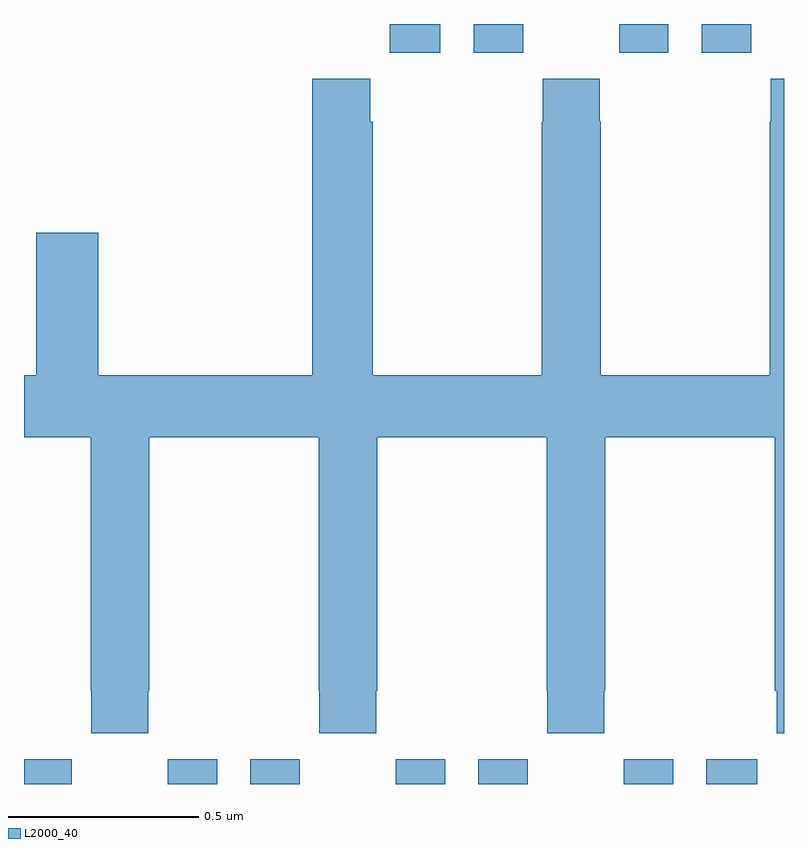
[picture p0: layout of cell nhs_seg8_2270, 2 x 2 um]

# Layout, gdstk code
import gdstk
lib = gdstk.Library(unit=1e-6, precision=1e-09)
def R(c, l, rs):  # rectangles x0, y0, x1, y1
    for r in rs: c.add(gdstk.rectangle(r[:2], r[2:], *l))
def P(c, l, *ps):  # polygons
    for p in ps: c.add(gdstk.Polygon(p, *l))
L2000_40 = (2000, 40)

nhs_seg8_2270 = lib.new_cell('nhs_seg8_2270')
R(nhs_seg8_2270, L2000_40, [(141,1136.9,141.126,1136.965), (141.378,1136.9,141.508,1136.965), (141.596,1136.9,141.726,1136.965), (141.978,1136.9,142.108,1136.965), (142.196,1136.9,142.326,1136.965), (142.578,1136.9,142.708,1136.965), (142.796,1136.9,142.93,1136.965), (141.962,1138.824,142.096,1138.9), (142.184,1138.824,142.314,1138.9), (142.566,1138.824,142.696,1138.9), (142.784,1138.824,142.914,1138.9)])
P(nhs_seg8_2270, L2000_40, [(141.327,1137.145),(141.33,1137.145),(141.33,1137.812),(141.775,1137.812),(141.775,1137.145),(141.777,1137.145),(141.777,1137.033),(141.927,1137.033),(141.927,1137.145),(141.93,1137.145),(141.93,1137.812),(142.375,1137.812),(142.375,1137.145),(142.377,1137.145),(142.377,1137.033),(142.527,1137.033),(142.527,1137.145),(142.53,1137.145),(142.53,1137.812),(142.975,1137.812),(142.975,1137.145),(142.981,1137.145),(142.981,1137.033),(143,1137.033),(143,1138.756),(142.965,1138.756),(142.965,1138.643),(142.963,1138.643),(142.963,1137.976),(142.518,1137.976),(142.518,1138.643),(142.515,1138.643),(142.515,1138.756),(142.365,1138.756),(142.365,1138.643),(142.363,1138.643),(142.363,1137.976),(141.918,1137.976),(141.918,1138.643),(141.911,1138.643),(141.911,1138.756),(141.758,1138.756),(141.758,1137.976),(141.196,1137.976),(141.196,1138.351),(141.032,1138.351),(141.032,1137.976),(141,1137.976),(141,1137.812),(141.175,1137.812),(141.175,1137.145),(141.177,1137.145),(141.177,1137.033),(141.327,1137.033)])

lib.write_gds('nhs_seg8_2270.gds')
